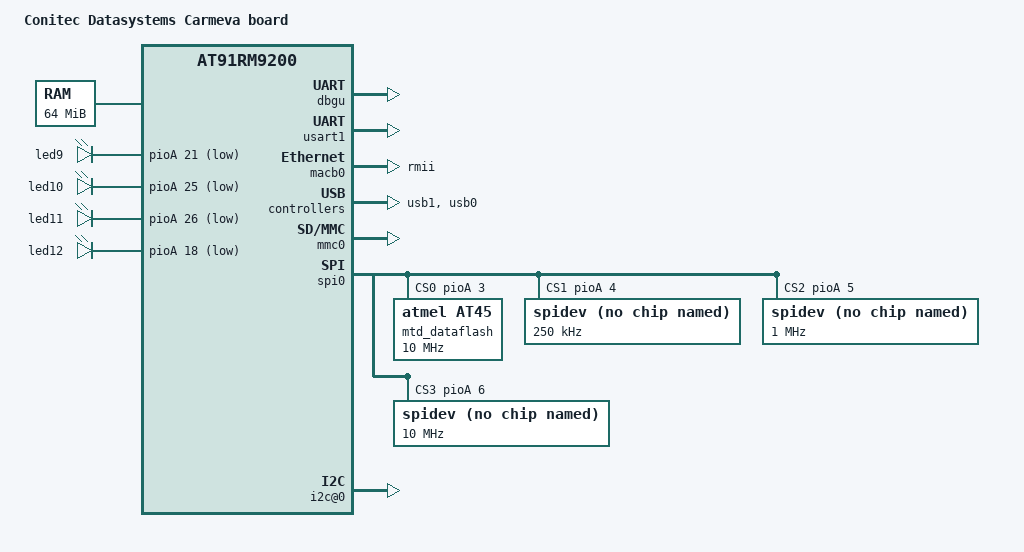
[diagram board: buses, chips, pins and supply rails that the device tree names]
/*
 * at91-carmeva.dts - Device Tree file for Conitec Datasystems Carmeva board
 *
 * Copyright (C) 2013 Jean-Christophe PLAGNIOL-VILLARD <plagnioj@jcrosoft.com>
 *
 * Licensed under GPLv2 only
 */
/dts-v1/;
#include "at91rm9200.dtsi"

/ {
	model = "Conitec Datasystems Carmeva board";
	compatible = "conitec,carmeva", "atmel,at91rm9200";

	memory {
		reg = <0x20000000 0x4000000>;
	};

	clocks {
		#address-cells = <1>;
		#size-cells = <1>;
		ranges;

		main_clock: clock@0 {
			compatible = "atmel,osc", "fixed-clock";
			clock-frequency = <20000000>;
		};
	};

	ahb {
		apb {
			dbgu: serial@fffff200 {
				status = "okay";
			};

			usart1: serial@fffc4000 {
				pinctrl-0 =
						<&pinctrl_uart1
						 &pinctrl_uart1_rts
						 &pinctrl_uart1_cts
						 &pinctrl_uart1_dtr_dsr
						 &pinctrl_uart1_dcd
						 &pinctrl_uart1_ri>;
				status = "okay";
			};

			macb0: ethernet@fffbc000 {
				phy-mode = "rmii";
				/* phy irq PC4 */
				status = "okay";
			};

			usb1: gadget@fffb0000 {
				atmel,vbus-gpio = <&pioD 12 GPIO_ACTIVE_HIGH>;
				atmel,pullup-gpio = <&pioD 9 GPIO_ACTIVE_HIGH>;
				status = "okay";
			};

			mmc0: mmc@fffb4000 {
				pinctrl-0 = <
					&pinctrl_board_mmc0
					&pinctrl_mmc0_clk
					&pinctrl_mmc0_slot0_cmd_dat0
					&pinctrl_mmc0_slot0_dat1_3>;
				status = "okay";
				slot@0 {
					reg = <0>;
					bus-width = <4>;
					cd-gpios = <&pioB 10 GPIO_ACTIVE_HIGH>;
					wp-gpios = <&pioC 14 GPIO_ACTIVE_HIGH>;
				};
			};

			pinctrl@fffff400 {
				mmc0 {
					pinctrl_board_mmc0: mmc0-board {
						atmel,pins =
							<AT91_PIOB 10 AT91_PERIPH_GPIO AT91_PINCTRL_PULL_UP_DEGLITCH
							 AT91_PIOC 14 AT91_PERIPH_GPIO AT91_PINCTRL_PULL_UP>;
					};
				};
			};

			spi0: spi@fffe0000 {
				status = "okay";
				cs-gpios = <&pioA 3 GPIO_ACTIVE_HIGH>,
					   <&pioA 4 GPIO_ACTIVE_HIGH>,
					   <&pioA 5 GPIO_ACTIVE_HIGH>,
					   <&pioA 6 GPIO_ACTIVE_HIGH>;
				mtd_dataflash@0 {
					compatible = "atmel,at45", "atmel,dataflash";
					spi-max-frequency = <10000000>;
					reg = <0>;
				};

				spidev@1 {
					compatible = "spidev";
					spi-max-frequency = <250000>;
					reg = <1>;
				};

				spidev@2 {
					compatible = "spidev";
					spi-max-frequency = <1000000>;
					reg = <2>;
				};

				spidev@3 {
					compatible = "spidev";
					spi-max-frequency = <10000000>;
					reg = <3>;
				};
			};
		};

		usb0: ohci@00300000 {
			num-ports = <2>;
			status = "okay";
		};
	};

	leds {
		compatible = "gpio-leds";

		led9 {
			label = "led9";
			gpios = <&pioA 21 GPIO_ACTIVE_LOW>;
			linux,default-trigger = "heartbeat";
		};

		led10 {
			label = "led10";
			gpios = <&pioA 25 GPIO_ACTIVE_LOW>;
		};

		led11 {
			label = "led11";
			gpios = <&pioA 26 GPIO_ACTIVE_LOW>;
		};

		led12 {
			label = "led12";
			gpios = <&pioA 18 GPIO_ACTIVE_LOW>;
		};
	};

	i2c@0 {
		status = "okay";
	};
};
